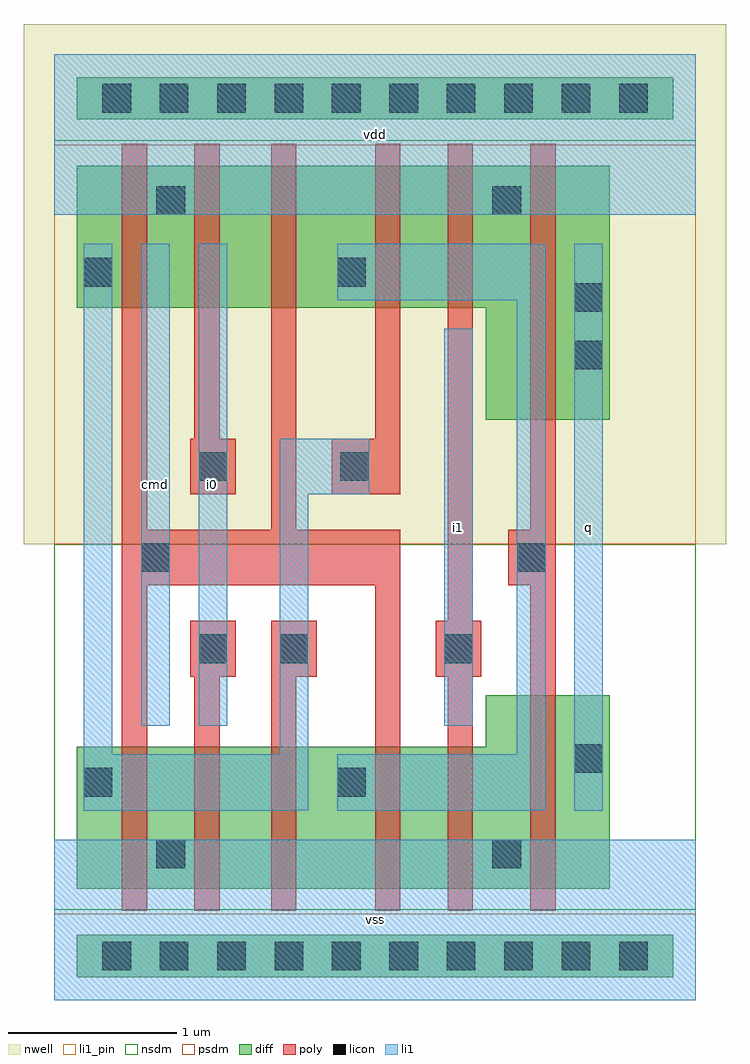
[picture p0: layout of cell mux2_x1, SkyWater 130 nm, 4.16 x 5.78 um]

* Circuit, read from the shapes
.subckt mux2_x1 cmd i0 i1 q vdd vss
XM1 vss cmd n1 VSUBS sky130_fd_pr__nfet_01v8 w=0.84 l=0.15
XM2 n2 i0 vss VSUBS sky130_fd_pr__nfet_01v8 w=0.84 l=0.15
XM3 n3 n1 n2 VSUBS sky130_fd_pr__nfet_01v8 w=0.84 l=0.15
XM4 n4 cmd n3 VSUBS sky130_fd_pr__nfet_01v8 w=0.84 l=0.15
XM5 vss i1 n4 VSUBS sky130_fd_pr__nfet_01v8 w=0.84 l=0.15
XM6 q n3 vss VSUBS sky130_fd_pr__nfet_01v8 w=1.145 l=0.15
XM7 vdd cmd n1 n5 sky130_fd_pr__pfet_01v8 w=0.84 l=0.15
XM8 n6 i0 vdd n5 sky130_fd_pr__pfet_01v8 w=0.84 l=0.15
XM9 n3 cmd n6 n5 sky130_fd_pr__pfet_01v8 w=0.84 l=0.15
XM10 n7 n1 n3 n5 sky130_fd_pr__pfet_01v8 w=0.84 l=0.15
XM11 vdd i1 n7 n5 sky130_fd_pr__pfet_01v8 w=0.84 l=0.15
XM12 q n3 vdd n5 sky130_fd_pr__pfet_01v8 w=1.505 l=0.15
.ends

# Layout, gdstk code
import gdstk
lib = gdstk.Library(unit=1e-6, precision=1e-09)
def R(c, l, rs):  # rectangles x0, y0, x1, y1
    for r in rs: c.add(gdstk.rectangle(r[:2], r[2:], *l))
def A(c, l, x, y, w, h, nx, ny, dx, dy):  # array of equal rectangles
    R(c, l, [(x+i*dx, y+j*dy, x+i*dx+w, y+j*dy+h) for i in range(nx) for j in range(ny)])
def P(c, l, *ps):  # polygons
    for p in ps: c.add(gdstk.Polygon(p, *l))
nwell = (64, 20)
diff = (65, 20)
poly = (66, 20)
licon = (66, 44)
li1_pin = (67, 16)
li1 = (67, 20)
nsdm = (93, 44)
psdm = (94, 20)

mux2_x1 = lib.new_cell('mux2_x1')
R(mux2_x1, nwell, [(-0.18,2.7,3.98,5.78)])
R(mux2_x1, diff, [(0.135,0.135,3.665,0.385), (0.135,5.215,3.665,5.465)])
P(mux2_x1, diff, [(2.555,3.435),(2.555,4.1),(0.135,4.1),(0.135,4.94),(3.29,4.94),(3.29,3.435)],
  [(0.135,0.66),(0.135,1.5),(2.555,1.5),(2.555,1.805),(3.29,1.805),(3.29,0.66)])
P(mux2_x1, poly, [(1.645,2.995),(1.645,3.325),(1.9,3.325),(1.9,5.07),(2.05,5.07),(2.05,2.995)],
  [(1.285,0.53),(1.285,2.245),(1.555,2.245),(1.555,1.915),(1.435,1.915),(1.435,0.53)],
  [(0.4,0.53),(0.4,5.07),(0.55,5.07),(0.55,2.785),(1.285,2.785),(1.285,5.07),(1.435,5.07),(1.435,2.785),(2.05,2.785),(2.05,0.53),(1.9,0.53),(1.9,2.455),(0.55,2.455),(0.55,0.53)],
  [(0.805,2.995),(0.805,3.325),(0.83,3.325),(0.83,5.07),(0.98,5.07),(0.98,3.325),(1.075,3.325),(1.075,2.995)],
  [(0.83,0.53),(0.83,1.915),(0.805,1.915),(0.805,2.245),(1.075,2.245),(1.075,1.915),(0.98,1.915),(0.98,0.53)],
  [(2.82,0.53),(2.82,2.455),(2.69,2.455),(2.69,2.785),(2.82,2.785),(2.82,5.07),(2.97,5.07),(2.97,0.53)],
  [(2.33,0.53),(2.33,1.915),(2.26,1.915),(2.26,2.245),(2.33,2.245),(2.33,5.07),(2.48,5.07),(2.48,2.245),(2.53,2.245),(2.53,1.915),(2.48,1.915),(2.48,0.53)])
A(mux2_x1, licon, 0.285, 0.175, 0.17, 0.17, 10, 2, 0.34, 5.08)
R(mux2_x1, licon, [(0.605,0.78,0.775,0.95), (2.595,0.78,2.765,0.95), (0.175,1.205,0.345,1.375), (1.675,1.205,1.845,1.375), (3.08,1.345,3.25,1.515), (0.855,1.995,1.025,2.165), (1.335,1.995,1.505,2.165), (2.31,1.995,2.48,2.165), (0.515,2.535,0.685,2.705), (2.74,2.535,2.91,2.705), (0.855,3.075,1.025,3.245), (1.695,3.075,1.865,3.245), (3.08,3.735,3.25,3.905), (3.08,4.075,3.25,4.245), (0.175,4.225,0.345,4.395), (1.675,4.225,1.845,4.395), (0.605,4.65,0.775,4.82), (2.595,4.65,2.765,4.82)])
R(mux2_x1, li1_pin, [(0,0,3.8,0.95), (3.08,1.12,3.25,4.48), (0.515,1.625,0.685,4.48), (0.855,1.625,1.025,4.48), (2.31,1.625,2.48,3.975), (0,4.65,3.8,5.6)])
R(mux2_x1, li1, [(0,0,3.8,0.95), (3.08,1.12,3.25,4.48), (0.515,1.625,0.685,4.48), (0.855,1.625,1.025,4.48), (2.31,1.625,2.48,3.975), (0,4.65,3.8,5.6)])
P(mux2_x1, li1, [(0.175,1.12),(0.175,4.48),(0.345,4.48),(0.345,1.455),(1.335,1.455),(1.335,3.325),(1.865,3.325),(1.865,2.995),(1.505,2.995),(1.505,1.125),(1.42,1.125),(1.42,1.12)],
  [(1.675,1.12),(1.675,1.455),(2.74,1.455),(2.74,4.145),(1.675,4.145),(1.675,4.48),(2.825,4.48),(2.825,4.475),(2.91,4.475),(2.91,1.125),(2.825,1.125),(2.825,1.12)])
R(mux2_x1, nsdm, [(0,0.535,3.8,2.7), (0,5.09,3.8,5.6)])
R(mux2_x1, psdm, [(0,0,3.8,0.51), (0,2.7,3.8,5.065)])
mux2_x1.add(gdstk.Label('vdd', (1.9,5.125), layer=67, texttype=16))
mux2_x1.add(gdstk.Label('vss', (1.9,0.475), layer=67, texttype=16))
mux2_x1.add(gdstk.Label('cmd', (0.6,3.052), layer=67, texttype=16))
mux2_x1.add(gdstk.Label('i0', (0.94,3.052), layer=67, texttype=16))
mux2_x1.add(gdstk.Label('i1', (2.395,2.8), layer=67, texttype=16))
mux2_x1.add(gdstk.Label('q', (3.165,2.8), layer=67, texttype=16))

lib.write_gds('mux2_x1.gds')
